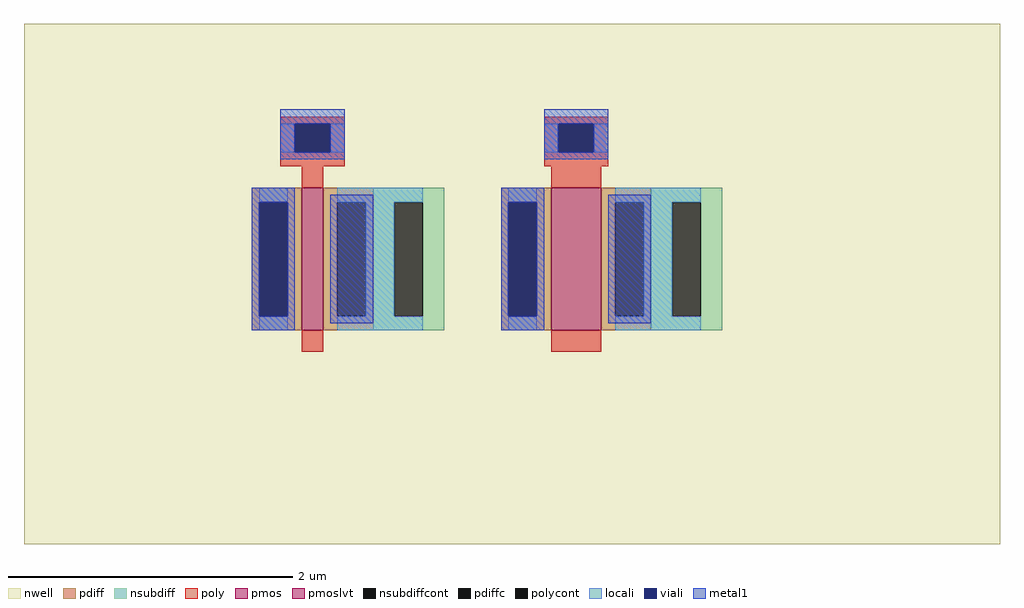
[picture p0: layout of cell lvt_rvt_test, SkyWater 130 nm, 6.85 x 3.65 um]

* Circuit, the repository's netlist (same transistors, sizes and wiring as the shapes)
* NGSPICE file created from lvt_rvt_test.ext - technology: sky130A

.subckt lvt_rvt_test
X0 w_n420_n320# a_n60_210# a_n100_n20# w_n420_n320# sky130_fd_pr__pfet_01v8 ad=0.35 pd=2.7 as=0.35 ps=2.7 w=1 l=0.15
X1 w_n420_n320# a_310_210# a_250_n20# w_n420_n320# sky130_fd_pr__pfet_01v8_lvt ad=0.35 pd=2.7 as=0.35 ps=2.7 w=1 l=0.35
.ends

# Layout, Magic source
magic
tech sky130A
<< nwell >>
rect -210 -160 475 205
<< pmos >>
rect -15 -10 0 90
<< pmoslvt >>
rect 160 -10 195 90
<< pdiff >>
rect -50 80 -15 90
rect -50 0 -45 80
rect -25 0 -15 80
rect -50 -10 -15 0
rect 0 80 35 90
rect 0 0 10 80
rect 30 0 35 80
rect 0 -10 35 0
rect 125 80 160 90
rect 125 0 130 80
rect 150 0 160 80
rect 125 -10 160 0
rect 195 80 230 90
rect 195 0 205 80
rect 225 0 230 80
rect 195 -10 230 0
<< pdiffc >>
rect -45 0 -25 80
rect 10 0 30 80
rect 130 0 150 80
rect 205 0 225 80
<< nsubdiff >>
rect 35 80 85 90
rect 35 0 50 80
rect 70 0 85 80
rect 35 -10 85 0
rect 230 80 280 90
rect 230 0 245 80
rect 265 0 280 80
rect 230 -10 280 0
<< nsubdiffcont >>
rect 50 0 70 80
rect 245 0 265 80
<< poly >>
rect -30 135 15 140
rect -30 115 -20 135
rect 5 115 15 135
rect -30 105 15 115
rect 155 135 200 140
rect 155 115 165 135
rect 190 115 200 135
rect 155 105 200 115
rect -15 90 0 105
rect 160 90 195 105
rect -15 -25 0 -10
rect 160 -25 195 -10
<< polycont >>
rect -20 115 5 135
rect 165 115 190 135
<< locali >>
rect -30 115 -20 135
rect 5 115 15 135
rect 155 115 165 135
rect 190 115 200 135
rect -45 80 -25 90
rect -45 -10 -25 0
rect 10 80 70 90
rect 30 0 50 80
rect 10 -10 70 0
rect 130 80 150 90
rect 130 -10 150 0
rect 205 80 265 90
rect 225 0 245 80
rect 205 -10 265 0
<< viali >>
rect -20 115 5 135
rect 165 115 190 135
rect -45 0 -25 80
rect 130 0 150 80
<< metal1 >>
rect -30 135 15 145
rect -30 115 -20 135
rect 5 115 15 135
rect -30 110 15 115
rect 155 135 200 145
rect 155 115 165 135
rect 190 115 200 135
rect 155 110 200 115
rect -50 80 -20 90
rect -50 0 -45 80
rect -25 0 -20 80
rect -50 -10 -20 0
rect 5 -5 35 85
rect 125 80 155 90
rect 125 0 130 80
rect 150 0 155 80
rect 125 -10 155 0
rect 200 -5 230 85
<< end >>
